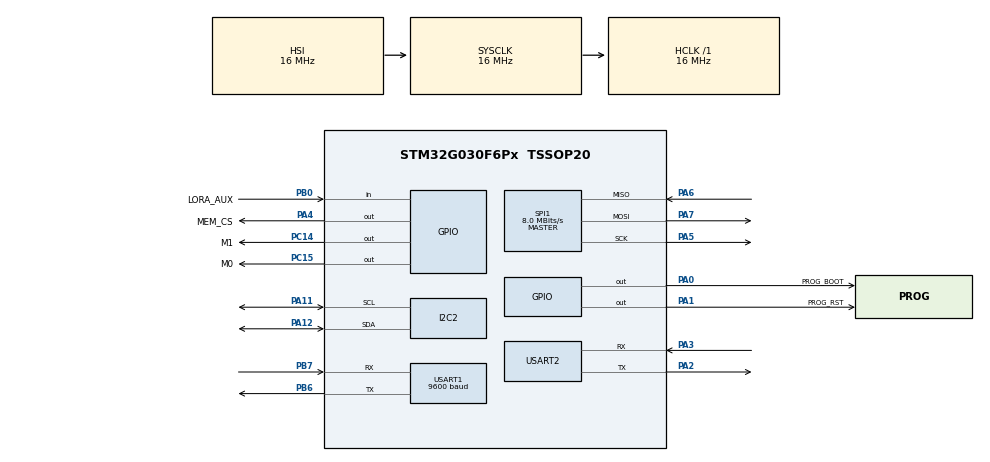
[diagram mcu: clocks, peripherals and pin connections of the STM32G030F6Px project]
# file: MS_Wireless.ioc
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Dma.Request0=USART1_RX
Dma.Request1=USART2_RX
Dma.USART1_RX.0.Direction=DMA_PERIPH_TO_MEMORY
Dma.USART1_RX.0.EventEnable=DISABLE
Dma.USART1_RX.0.Instance=DMA1_Channel1
Dma.USART1_RX.0.MemDataAlignment=DMA_MDATAALIGN_BYTE
Dma.USART1_RX.0.MemInc=DMA_MINC_ENABLE
Dma.USART1_RX.0.Mode=DMA_NORMAL
Dma.USART1_RX.0.PeriphDataAlignment=DMA_PDATAALIGN_BYTE
Dma.USART1_RX.0.PeriphInc=DMA_PINC_DISABLE
Dma.USART1_RX.0.Polarity=HAL_DMAMUX_REQ_GEN_RISING
Dma.USART1_RX.0.Priority=DMA_PRIORITY_LOW
Dma.USART1_RX.0.RequestNumber=1
Dma.USART1_RX.0.SignalID=NONE
Dma.USART1_RX.0.SyncEnable=DISABLE
Dma.USART1_RX.0.SyncPolarity=HAL_DMAMUX_SYNC_NO_EVENT
Dma.USART1_RX.0.SyncRequestNumber=1
Dma.USART1_RX.0.SyncSignalID=NONE
Dma.USART2_RX.1.Direction=DMA_PERIPH_TO_MEMORY
Dma.USART2_RX.1.EventEnable=DISABLE
Dma.USART2_RX.1.Instance=DMA1_Channel2
Dma.USART2_RX.1.MemDataAlignment=DMA_MDATAALIGN_BYTE
Dma.USART2_RX.1.MemInc=DMA_MINC_ENABLE
Dma.USART2_RX.1.Mode=DMA_NORMAL
Dma.USART2_RX.1.PeriphDataAlignment=DMA_PDATAALIGN_BYTE
Dma.USART2_RX.1.PeriphInc=DMA_PINC_DISABLE
Dma.USART2_RX.1.Polarity=HAL_DMAMUX_REQ_GEN_RISING
Dma.USART2_RX.1.Priority=DMA_PRIORITY_LOW
Dma.USART2_RX.1.RequestNumber=1
Dma.USART2_RX.1.SignalID=NONE
Dma.USART2_RX.1.SyncEnable=DISABLE
Dma.USART2_RX.1.SyncPolarity=HAL_DMAMUX_SYNC_NO_EVENT
Dma.USART2_RX.1.SyncRequestNumber=1
Dma.USART2_RX.1.SyncSignalID=NONE
I2C2.OwnAddress=Addr
Mcu.Family=STM32G0
Mcu.Name=STM32G030F6Px
Mcu.Package=TSSOP20
Mcu.UserConstants=Addr,85
NVIC.DMA1_Channel1_IRQn=true\:0\:0\:false\:false\:true\:false\:true\:true
NVIC.DMA1_Channel2_3_IRQn=true\:0\:0\:false\:false\:true\:false\:true\:true
NVIC.I2C2_IRQn=true\:0\:0\:false\:false\:true\:true\:true\:true
NVIC.USART1_IRQn=true\:0\:0\:false\:false\:true\:true\:true\:true
NVIC.USART2_IRQn=true\:0\:0\:false\:false\:true\:true\:true\:true
PA0.GPIO_Label=PROG_BOOT
PA0.Signal=GPIO_Output
PA1.GPIO_Label=PROG_RST
PA1.Signal=GPIO_Output
PA11\ [PA9].Mode=I2C
PA11\ [PA9].Signal=I2C2_SCL
PA12\ [PA10].Mode=I2C
PA12\ [PA10].Signal=I2C2_SDA
PA13.Mode=Serial_Wire
PA13.Signal=SYS_SWDIO
PA14-BOOT0.Mode=Serial_Wire
PA14-BOOT0.Signal=SYS_SWCLK
PA14-BOOT0__PA15.StandardMode=true
PA2.Mode=Asynchronous
PA2.Signal=USART2_TX
PA3.Mode=Asynchronous
PA3.Signal=USART2_RX
PA4.GPIO_Label=MEM_CS
PA4.Signal=GPIO_Output
PA5.Mode=Full_Duplex_Master
PA5.Signal=SPI1_SCK
PA6.Mode=Full_Duplex_Master
PA6.Signal=SPI1_MISO
PA7.Mode=Full_Duplex_Master
PA7.Signal=SPI1_MOSI
PB0.GPIO_Label=LORA_AUX
PB0.Signal=GPIO_Input
PB0__PB1__PB2__PA8.StandardMode=true
PB3__PB4__PB5__PB6.StandardMode=false
PB6.Mode=Asynchronous
PB6.Signal=USART1_TX
PB7.Mode=Asynchronous
PB7.Signal=USART1_RX
PB7__PB8.StandardMode=false
PC14-OSC32_IN\ (PC14).GPIO_Label=M1
PC14-OSC32_IN\ (PC14).Signal=GPIO_Output
PC14-OSC32_IN\ (PC14)__PB9.StandardMode=true
PC15-OSC32_OUT\ (PC15).GPIO_Label=M0
PC15-OSC32_OUT\ (PC15).Signal=GPIO_Output
ProjectManager.HeapSize=0x200
ProjectManager.StackSize=0x400
ProjectManager.TargetToolchain=STM32CubeIDE
RCC.AHBFreq_Value=16000000
RCC.CortexFreq_Value=16000000
RCC.EXTERNAL_CLOCK_VALUE=12288000
RCC.HCLKFreq_Value=16000000
RCC.HSE_VALUE=8000000
RCC.HSI_VALUE=16000000
RCC.LSE_VALUE=32768
RCC.SYSCLKFreq_VALUE=16000000
RCC.VCOOutputFreq_Value=128000000
SPI1.CalculateBaudRate=8.0 MBits/s
SPI1.Direction=SPI_DIRECTION_2LINES
SPI1.Mode=SPI_MODE_MASTER
SPI1.VirtualType=VM_MASTER
USART1.BaudRate=9600
USART1.VirtualMode-Asynchronous=VM_ASYNC
USART2.VirtualMode-Asynchronous=VM_ASYNC
board=custom

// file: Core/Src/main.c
/* USER CODE BEGIN Header */
/**
  ******************************************************************************
  * @file           : main.c
  * @brief          : Main program body
  ******************************************************************************
  * @attention
  *
  * Copyright (c) 2022 STMicroelectronics.
  * All rights reserved.
  *
  * This software is licensed under terms that can be found in the LICENSE file
  * in the root directory of this software component.
  * If no LICENSE file comes with this software, it is provided AS-IS.
  *
  ******************************************************************************
  */
/* USER CODE END Header */
#include "main.h"

/* USER CODE BEGIN Includes */
#include <stdio.h>
#include <stdint.h>
#include <ctype.h>
#include <string.h>
#include <stdlib.h>
/* USER CODE END Includes */

/* USER CODE BEGIN PTD */
typedef struct {
	uint8_t id;
	uint8_t type;
	uint8_t parLth;
	uint8_t params[10];

}CMD;

enum State
{
	Start = 0,
	Error = -2,
	Fin = -1,

	Beg_mark = 1,	// $GPGGA,
	time	 = 2,	// hhmmss.ss,
	attitude = 3,	// llll.ll,
	attitudeDIR = 4,// a,

	longtitude = 5,		// yyyyy.yy,
	longtitudeDIR = 6,	// a,
	gps_quality = 7,	// x,
	satteites = 8,		// xx,

	HDOP = 9,		// x.x,
	height = 10,	// x.x,
	heightUNIT = 11,// M,
	geo_sep = 12,	// x.x,

	geo_sepUNITS = 13,// M,
	age_diff = 14,	// x.x,
	ref_st = 15,	// xxxx*
	chsum = 16,		// hh\n\r
};

typedef struct
{
	double time;
	double attitude;
	char attitudeDIR;
	double longtitude;
	char longtitudeDIR;
	uint8_t gps_quality;
	uint8_t satteites;
	double HDOP;
	double height;
	char heightUNIT;
	double geo_sep;
	char geo_sepUNITS;
	double age_diff;
	uint16_t ref_st;
	uint8_t chsum;
} GGA;
/* USER CODE END PTD */

/* USER CODE BEGIN PD */
#define OBC_CTRL 	2
#define SYNC 		1
#define ERROR 		0
#define BUF_SZ 		32
/* USER CODE END PD */

 I2C_HandleTypeDef hi2c2;

SPI_HandleTypeDef hspi1;

UART_HandleTypeDef huart1;
UART_HandleTypeDef huart2;
DMA_HandleTypeDef hdma_usart1_rx;
DMA_HandleTypeDef hdma_usart2_rx;

/* USER CODE BEGIN PV */

CMD queue[10];
uint8_t Queue_size = 0;

uint32_t TIM_GNSS_Send = 0;

uint8_t pGNSS_Data[512];
uint8_t pRF_Data[100];
uint8_t gnss_size = 0;
/* USER CODE END PV */

void SystemClock_Config(void);
static void MX_GPIO_Init(void);
static void MX_SPI1_Init(void);
static void MX_DMA_Init(void);
static void MX_USART1_UART_Init(void);
static void MX_USART2_UART_Init(void);
static void MX_I2C2_Init(void);
/* USER CODE BEGIN PFP */
uint8_t GNSS_decoder(char* str, GGA* Ret);
uint32_t parse(char* s, uint32_t l, enum State S, GGA* struc);
/* USER CODE END PFP */

/* USER CODE BEGIN 0 */
void HAL_SYSTICK_Callback(void)
{
	TIM_GNSS_Send++;
}
uint8_t XOR(uint8_t* data, uint8_t lth)
{
	return 5;
}
void ProcessCMD(CMD cmd)
{
	if(cmd.type == SYNC)
	{
		uint8_t answer[7];
		answer[0] = 0x0D;
		answer[1] = 'C';
		answer[2] = cmd.id;
		answer[3] = cmd.type;
		answer[4] = 0;		//Длина данных
		answer[5] = XOR(answer, 5);
		HAL_UART_Transmit_IT(&huart1, answer, 6);
	}
	if(cmd.type == OBC_CTRL)
	{
		//ToProg(0), RST(1), RST_L(2), RST_H(3), BOOT_L(4), BOOT_H(5)
		if(cmd.params[0] == 0)//ToProg
		{
			HAL_GPIO_WritePin(PROG_BOOT_GPIO_Port, PROG_BOOT_Pin, SET);
			HAL_GPIO_WritePin(PROG_RST_GPIO_Port, PROG_RST_Pin, RESET);
			HAL_Delay(1);
			HAL_GPIO_WritePin(PROG_RST_GPIO_Port, PROG_RST_Pin, SET);
			HAL_GPIO_WritePin(PROG_BOOT_GPIO_Port, PROG_BOOT_Pin, RESET);
		}
		else if(cmd.params[0] == 1)//RST
		{
			HAL_GPIO_WritePin(PROG_RST_GPIO_Port, PROG_RST_Pin, RESET);
			HAL_Delay(1);
			HAL_GPIO_WritePin(PROG_RST_GPIO_Port, PROG_RST_Pin, SET);
		}
		else if(cmd.params[0] == 2)//RST_L
		{
			HAL_GPIO_WritePin(PROG_RST_GPIO_Port, PROG_RST_Pin, RESET);
		}
		else if(cmd.params[0] == 3)//RST_H
		{
			HAL_GPIO_WritePin(PROG_RST_GPIO_Port, PROG_RST_Pin, SET);
		}
		else if(cmd.params[0] == 4)//BOOT_L
		{
			HAL_GPIO_WritePin(PROG_BOOT_GPIO_Port, PROG_BOOT_Pin, RESET);
		}
		else if(cmd.params[0] == 5)//BOOT_H
		{
			HAL_GPIO_WritePin(PROG_BOOT_GPIO_Port, PROG_BOOT_Pin, SET);
		}
		uint8_t answer[7];
		answer[0] = 0x0D;
		answer[1] = 'C';
		answer[2] = cmd.id;
		answer[3] = cmd.type;
		answer[4] = 1;		//Длина данных
		answer[6] = 0;
		answer[6] = XOR(answer, 6);
		HAL_UART_Transmit_IT(&huart1, answer, 7);
	}
}

void HAL_UARTEx_RxEventCallback(UART_HandleTypeDef *huart, uint16_t Size)
{
	if(huart->Instance == USART1) //Radio
	{
		HAL_UARTEx_ReceiveToIdle_DMA(&huart1, pRF_Data, 100);
		if(pRF_Data[0] == 0x0D && pRF_Data[1] == 'C')
		{
			if(XOR(pRF_Data, Size) == pRF_Data[Size-1])
			{
				CMD newCMD;
				newCMD.id = pRF_Data[2];
				newCMD.type = pRF_Data[3];
				newCMD.parLth = pRF_Data[4];
				for(uint8_t parCnt = 0; parCnt < newCMD.parLth; parCnt++)
					newCMD.params[parCnt] = pRF_Data[5+parCnt];

				queue[Queue_size] = newCMD;
				Queue_size++;

			}else
			{
				//bad CRC
			}
		}
		else
		{
			//bad cmd
		}
	}
	if(huart->Instance == USART2) //GPS
	{
		//GGA pGNSS_Data2;
		//GNSS_decoder((char*)&pGNSS_Data[0], &pGNSS_Data2 );
		gnss_size = Size;

		HAL_UARTEx_ReceiveToIdle_DMA(&huart2, pGNSS_Data, 512);

	}
}

/* USER CODE END 0 */

int main(void)
{

  /* MCU Configuration--------------------------------------------------------*/

  /* Reset of all peripherals, Initializes the Flash interface and the Systick. */
  HAL_Init();

  /* Configure the system clock */
  SystemClock_Config();

  /* Initialize all configured peripherals */
  MX_GPIO_Init();
  MX_SPI1_Init();
  MX_DMA_Init();
  MX_USART1_UART_Init();
  MX_USART2_UART_Init();
  MX_I2C2_Init();
  /* USER CODE BEGIN 2 */
  HAL_GPIO_WritePin(M0_GPIO_Port, M0_Pin, SET);
  //HAL_GPIO_WritePin(M1_GPIO_Port, M1_Pin, SET); //Для JDY
  HAL_GPIO_WritePin(M1_GPIO_Port, M1_Pin, RESET); //Для E220

  HAL_UARTEx_ReceiveToIdle_DMA(&huart2, pGNSS_Data, 512); //GPS
  HAL_UARTEx_ReceiveToIdle_DMA(&huart1, pRF_Data, 100); //RF

  /*while(1)
  {
	  uint8_t data[3] = { 0xAA, 0xBB, 0xCC };
	  HAL_UART_Transmit(&huart1, data, 3, 1000);

	  HAL_Delay(1000);
  }*/
  /* USER CODE END 2 */

  /* Infinite loop */
  /* USER CODE BEGIN WHILE */
  while (1)
  {
	  if(Queue_size > 0)
	  {
		  ProcessCMD(queue[Queue_size-1]);
		  Queue_size--;
	  }
	  if(TIM_GNSS_Send > 2000)
	  {
		  HAL_UART_Transmit(&huart1, pGNSS_Data, gnss_size, 1000);
		  TIM_GNSS_Send = 0;
	  }
    /* USER CODE END WHILE */

  }
}

void SystemClock_Config(void)
{
  RCC_OscInitTypeDef RCC_OscInitStruct = {0};
  RCC_ClkInitTypeDef RCC_ClkInitStruct = {0};

  /** Configure the main internal regulator output voltage
  */
  HAL_PWREx_ControlVoltageScaling(PWR_REGULATOR_VOLTAGE_SCALE1);

  /** Initializes the RCC Oscillators according to the specified parameters
  * in the RCC_OscInitTypeDef structure.
  */
  RCC_OscInitStruct.OscillatorType = RCC_OSCILLATORTYPE_HSI;
  RCC_OscInitStruct.HSIState = RCC_HSI_ON;
  RCC_OscInitStruct.HSIDiv = RCC_HSI_DIV1;
  RCC_OscInitStruct.HSICalibrationValue = RCC_HSICALIBRATION_DEFAULT;
  RCC_OscInitStruct.PLL.PLLState = RCC_PLL_NONE;
  if (HAL_RCC_OscConfig(&RCC_OscInitStruct) != HAL_OK)
  {
    Error_Handler();
  }

  /** Initializes the CPU, AHB and APB buses clocks
  */
  RCC_ClkInitStruct.ClockType = RCC_CLOCKTYPE_HCLK|RCC_CLOCKTYPE_SYSCLK
                              |RCC_CLOCKTYPE_PCLK1;
  RCC_ClkInitStruct.SYSCLKSource = RCC_SYSCLKSOURCE_HSI;
  RCC_ClkInitStruct.AHBCLKDivider = RCC_SYSCLK_DIV1;
  RCC_ClkInitStruct.APB1CLKDivider = RCC_HCLK_DIV1;

  if (HAL_RCC_ClockConfig(&RCC_ClkInitStruct, FLASH_LATENCY_0) != HAL_OK)
  {
    Error_Handler();
  }
}

static void MX_I2C2_Init(void)
{

  hi2c2.Instance = I2C2;
  hi2c2.Init.Timing = 0x00303D5B;
  hi2c2.Init.OwnAddress1 = 170;
  hi2c2.Init.AddressingMode = I2C_ADDRESSINGMODE_7BIT;
  hi2c2.Init.DualAddressMode = I2C_DUALADDRESS_DISABLE;
  hi2c2.Init.OwnAddress2 = 0;
  hi2c2.Init.OwnAddress2Masks = I2C_OA2_NOMASK;
  hi2c2.Init.GeneralCallMode = I2C_GENERALCALL_DISABLE;
  hi2c2.Init.NoStretchMode = I2C_NOSTRETCH_DISABLE;
  if (HAL_I2C_Init(&hi2c2) != HAL_OK)
  {
    Error_Handler();
  }

  /** Configure Analogue filter
  */
  if (HAL_I2CEx_ConfigAnalogFilter(&hi2c2, I2C_ANALOGFILTER_ENABLE) != HAL_OK)
  {
    Error_Handler();
  }

  /** Configure Digital filter
  */
  if (HAL_I2CEx_ConfigDigitalFilter(&hi2c2, 0) != HAL_OK)
  {
    Error_Handler();
  }

}

static void MX_SPI1_Init(void)
{

  /* SPI1 parameter configuration*/
  hspi1.Instance = SPI1;
  hspi1.Init.Mode = SPI_MODE_MASTER;
  hspi1.Init.Direction = SPI_DIRECTION_2LINES;
  hspi1.Init.DataSize = SPI_DATASIZE_8BIT;
  hspi1.Init.CLKPolarity = SPI_POLARITY_LOW;
  hspi1.Init.CLKPhase = SPI_PHASE_1EDGE;
  hspi1.Init.NSS = SPI_NSS_SOFT;
  hspi1.Init.BaudRatePrescaler = SPI_BAUDRATEPRESCALER_2;
  hspi1.Init.FirstBit = SPI_FIRSTBIT_MSB;
  hspi1.Init.TIMode = SPI_TIMODE_DISABLE;
  hspi1.Init.CRCCalculation = SPI_CRCCALCULATION_DISABLE;
  hspi1.Init.CRCPolynomial = 7;
  hspi1.Init.CRCLength = SPI_CRC_LENGTH_DATASIZE;
  hspi1.Init.NSSPMode = SPI_NSS_PULSE_ENABLE;
  if (HAL_SPI_Init(&hspi1) != HAL_OK)
  {
    Error_Handler();
  }

}

static void MX_USART1_UART_Init(void)
{

  huart1.Instance = USART1;
  huart1.Init.BaudRate = 9600;
  huart1.Init.WordLength = UART_WORDLENGTH_8B;
  huart1.Init.StopBits = UART_STOPBITS_1;
  huart1.Init.Parity = UART_PARITY_NONE;
  huart1.Init.Mode = UART_MODE_TX_RX;
  huart1.Init.HwFlowCtl = UART_HWCONTROL_NONE;
  huart1.Init.OverSampling = UART_OVERSAMPLING_16;
  huart1.Init.OneBitSampling = UART_ONE_BIT_SAMPLE_DISABLE;
  huart1.Init.ClockPrescaler = UART_PRESCALER_DIV1;
  huart1.AdvancedInit.AdvFeatureInit = UART_ADVFEATURE_NO_INIT;
  if (HAL_UART_Init(&huart1) != HAL_OK)
  {
    Error_Handler();
  }
  if (HAL_UARTEx_SetTxFifoThreshold(&huart1, UART_TXFIFO_THRESHOLD_1_8) != HAL_OK)
  {
    Error_Handler();
  }
  if (HAL_UARTEx_SetRxFifoThreshold(&huart1, UART_RXFIFO_THRESHOLD_1_8) != HAL_OK)
  {
    Error_Handler();
  }
  if (HAL_UARTEx_DisableFifoMode(&huart1) != HAL_OK)
  {
    Error_Handler();
  }

}

static void MX_USART2_UART_Init(void)
{

  huart2.Instance = USART2;
  huart2.Init.BaudRate = 115200;
  huart2.Init.WordLength = UART_WORDLENGTH_8B;
  huart2.Init.StopBits = UART_STOPBITS_1;
  huart2.Init.Parity = UART_PARITY_NONE;
  huart2.Init.Mode = UART_MODE_TX_RX;
  huart2.Init.HwFlowCtl = UART_HWCONTROL_NONE;
  huart2.Init.OverSampling = UART_OVERSAMPLING_16;
  huart2.Init.OneBitSampling = UART_ONE_BIT_SAMPLE_DISABLE;
  huart2.Init.ClockPrescaler = UART_PRESCALER_DIV1;
  huart2.AdvancedInit.AdvFeatureInit = UART_ADVFEATURE_NO_INIT;
  if (HAL_UART_Init(&huart2) != HAL_OK)
  {
    Error_Handler();
  }

}

static void MX_DMA_Init(void)
{

  /* DMA controller clock enable */
  __HAL_RCC_DMA1_CLK_ENABLE();

  /* DMA interrupt init */
  /* DMA1_Channel1_IRQn interrupt configuration */
  HAL_NVIC_SetPriority(DMA1_Channel1_IRQn, 0, 0);
  HAL_NVIC_EnableIRQ(DMA1_Channel1_IRQn);
  /* DMA1_Channel2_3_IRQn interrupt configuration */
  HAL_NVIC_SetPriority(DMA1_Channel2_3_IRQn, 0, 0);
  HAL_NVIC_EnableIRQ(DMA1_Channel2_3_IRQn);

}

static void MX_GPIO_Init(void)
{
  GPIO_InitTypeDef GPIO_InitStruct = {0};

  /* GPIO Ports Clock Enable */
  __HAL_RCC_GPIOB_CLK_ENABLE();
  __HAL_RCC_GPIOC_CLK_ENABLE();
  __HAL_RCC_GPIOA_CLK_ENABLE();

  /*Configure GPIO pin Output Level */
  HAL_GPIO_WritePin(GPIOC, M1_Pin|M0_Pin, GPIO_PIN_RESET);

  /*Configure GPIO pin Output Level */
  HAL_GPIO_WritePin(GPIOA, PROG_BOOT_Pin|PROG_RST_Pin|MEM_CS_Pin, GPIO_PIN_RESET);

  /*Configure GPIO pins : M1_Pin M0_Pin */
  GPIO_InitStruct.Pin = M1_Pin|M0_Pin;
  GPIO_InitStruct.Mode = GPIO_MODE_OUTPUT_PP;
  GPIO_InitStruct.Pull = GPIO_NOPULL;
  GPIO_InitStruct.Speed = GPIO_SPEED_FREQ_LOW;
  HAL_GPIO_Init(GPIOC, &GPIO_InitStruct);

  /*Configure GPIO pins : PROG_BOOT_Pin PROG_RST_Pin MEM_CS_Pin */
  GPIO_InitStruct.Pin = PROG_BOOT_Pin|PROG_RST_Pin|MEM_CS_Pin;
  GPIO_InitStruct.Mode = GPIO_MODE_OUTPUT_PP;
  GPIO_InitStruct.Pull = GPIO_NOPULL;
  GPIO_InitStruct.Speed = GPIO_SPEED_FREQ_LOW;
  HAL_GPIO_Init(GPIOA, &GPIO_InitStruct);

  /*Configure GPIO pin : LORA_AUX_Pin */
  GPIO_InitStruct.Pin = LORA_AUX_Pin;
  GPIO_InitStruct.Mode = GPIO_MODE_INPUT;
  GPIO_InitStruct.Pull = GPIO_NOPULL;
  HAL_GPIO_Init(LORA_AUX_GPIO_Port, &GPIO_InitStruct);

}

/* USER CODE BEGIN 4 */

uint32_t parse(char* s, uint32_t l, enum State S, GGA* struc)
{
	char buf[BUF_SZ];
	strncpy(&buf[0], s, l);
	buf[l] = 0;
	uint16_t ret = 0;
	switch (S)
	{
		case time:
			struc->time = strtod(buf,NULL);
			break;
		case attitude:
			struc->attitude = strtod(buf,NULL);
			break;
		case longtitude:
			struc->longtitude = strtod(buf,NULL);
			break;
		case HDOP:
			struc->HDOP = strtod(buf,NULL);
			break;
		case height:
			struc->height = strtod(buf,NULL);
			break;
		case geo_sep:
			struc->geo_sep = strtod(buf,NULL);
			break;
		case age_diff:
			struc->age_diff = strtod(buf,NULL);
			break;

		case attitudeDIR:
			struc->attitudeDIR = buf[0];
			break;
		case longtitudeDIR:
			struc->longtitudeDIR = buf[0];
			break;
		case heightUNIT:
			struc->heightUNIT = buf[0];
			break;
		case geo_sepUNITS:
			struc->geo_sepUNITS = buf[0];
			break;

		case gps_quality:
			struc->gps_quality = atoi(buf);
			break;
		case satteites:
			struc->satteites = atoi(buf);
			break;
		case ref_st:
			struc->ref_st = atoi(buf);
			break;

		case chsum:
			sscanf(buf, "%x", (unsigned int *)&ret);
			break;
		case Beg_mark:
			if (strcmp(buf,"gpgga") != 0)
				ret = -1;
			break;
		default:
			ret = -1;
	}
	return ret;
}

uint8_t GNSS_decoder(char* str, GGA* Ret)
{
	uint32_t i = 0;
	uint32_t len = 0;
	enum State Current = Start;
	while (Current != Error && str[i] != 0 && Current != Fin)
	{
		str[i] = tolower(str[i]);
		switch (str[i])
		{
			case '$':
				Current = Beg_mark;
				break;
			case ',':
				if (Current != Start && Current != Error && Current != Fin)
				{
					uint8_t parse_r = parse(str + i - len, len, Current, Ret);
					if (parse_r < 0)
						Current = Error;
					else
					{
						Current ++;
						len = 0;
					}
				}
				break;
			case 'a' ... 'z':
				if (
					(Current != Beg_mark && Current != attitudeDIR && Current != longtitudeDIR &&
					Current != heightUNIT && Current != geo_sepUNITS && Current != chsum) ||
					(Current == chsum && !isxdigit((unsigned char)str[i])) )
					Current = Error;
				else
					len++;
				break;
			case '-':
			case '0' ... '9':
			case '.':
				len ++;
				break;
			case '*':
				if (Current == ref_st)
					{
						parse(str + i - len, len, Current, Ret);
						len = 0;
						Current = chsum;
					}
				else
					Current = Error;
				break;
			case '\n':
			case '\r':
			case '\0':
				if (Current == chsum)
				{
					parse(str + i - len, len, Current, Ret);
					Current = Fin;
				}
				else
					Current = Error;
		}
		i ++;
	}
	return Current = Fin;
}
/* USER CODE END 4 */

void Error_Handler(void)
{
  __disable_irq();
  while (1)
  {
  }
}
